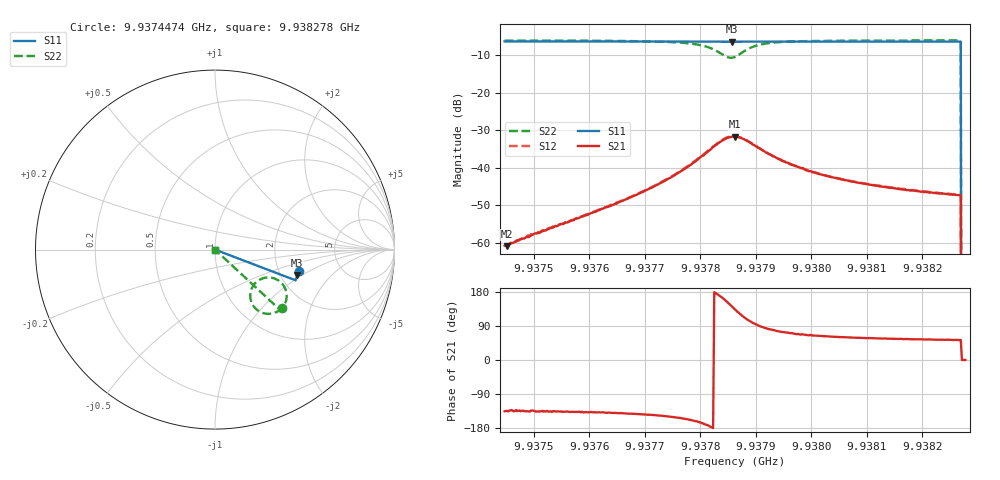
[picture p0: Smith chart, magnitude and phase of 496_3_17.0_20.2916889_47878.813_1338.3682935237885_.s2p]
#  HZ  S  RI  R  50.00
! Rohde & Schwarz Vector Network Analyzer
! Rohde-Schwarz,ZNB20-2Port,1311601062101988,3.16
! Created: UTC 3/20/2024, 11:14:18 PM
! freq[Hz]  re:S11  im:S11  re:S21  im:S21  re:S12  im:S12  re:S22  im:S22
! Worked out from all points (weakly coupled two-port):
!   401 points, 9.9374474 GHz to 9.938278 GHz, reference 50 ohm
!   highest |S21| = -31.71 dB at 9.9378627 GHz (marker M1); lowest = -61.0 dB at 9.9374516 GHz (marker M2)
!   lowest |S11| = -6.4 dB at 9.9378565 GHz (marker M3), VSWR 2.83, Z = 122 - j45.4 ohm
!   |S11| at or under -10 dB: 9.9382697 GHz to end of sweep
!   |S22| runs from - to -6.1 dB; largest |S21 - S12| = 0.001
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9.93744742e9  0.4683 -0.1181  -0.000645 -0.000638  -0.000656 -0.000634  0.3743 -0.3266
9.93745157e9  0.4681 -0.1184  -0.000621 -0.000644  -0.000678 -0.000673  0.3739 -0.327
9.9374931e9  0.4672 -0.1214  -0.000873 -0.000842  -0.000884 -0.000875  0.3699 -0.3304
9.93758654e9  0.4652 -0.1275  -0.00161 -0.00153  -0.00167 -0.0015  0.3589 -0.3388
9.93766545e9  0.4632 -0.1328  -0.00292 -0.00236  -0.00302 -0.00238  0.3436 -0.3478
9.93772567e9  0.4616 -0.137  -0.00508 -0.00333  -0.00519 -0.00333  0.3222 -0.3554
9.93777135e9  0.46 -0.1401  -0.00866 -0.00409  -0.00891 -0.00393  0.2905 -0.3579
9.93780873e9  0.4584 -0.1424  -0.0149 -0.00259  -0.0154 -0.00252  0.2401 -0.3399
9.9378378e9  0.4566 -0.1436  -0.0218 0.00531  -0.0222 0.00596  0.1969 -0.2667
9.93784818e9  0.4562 -0.1437  -0.0222 0.0109  -0.0223 0.0118  0.2025 -0.2214
9.93785649e9  0.4561 -0.1436  -0.0204 0.0158  -0.0203 0.0166  0.224 -0.187
9.93786272e9  0.4562 -0.1435  -0.0179 0.0188  -0.0176 0.0195  0.2485 -0.1681
9.9378731e9  0.4566 -0.1437  -0.0126 0.0216  -0.0119 0.0222  0.2952 -0.1554
9.93788763e9  0.457 -0.1445  -0.00556 0.0215  -0.00489 0.0216  0.3485 -0.169
9.93791047e9  0.4573 -0.1462  0.000683 0.0174  0.00116 0.0174  0.388 -0.2105
9.93794577e9  0.4568 -0.1491  0.00333 0.0121  0.00371 0.0123  0.3996 -0.2565
9.93800184e9  0.4556 -0.1533  0.00377 0.00778  0.00388 0.00795  0.3936 -0.2921
9.93807036e9  0.454 -0.1578  0.00336 0.00567  0.00348 0.00567  0.384 -0.3123
9.93814096e9  0.4519 -0.1624  0.00299 0.00446  0.00313 0.00452  0.3762 -0.3243
9.93826555e9  0.4485 -0.1706  0.00261 0.00343  0.00269 0.00341  0.3649 -0.3378
9.93827593e9  0 0  0 0  0 0  0 0
9.93827801e9  0 0  0 0  0 0  0 0
